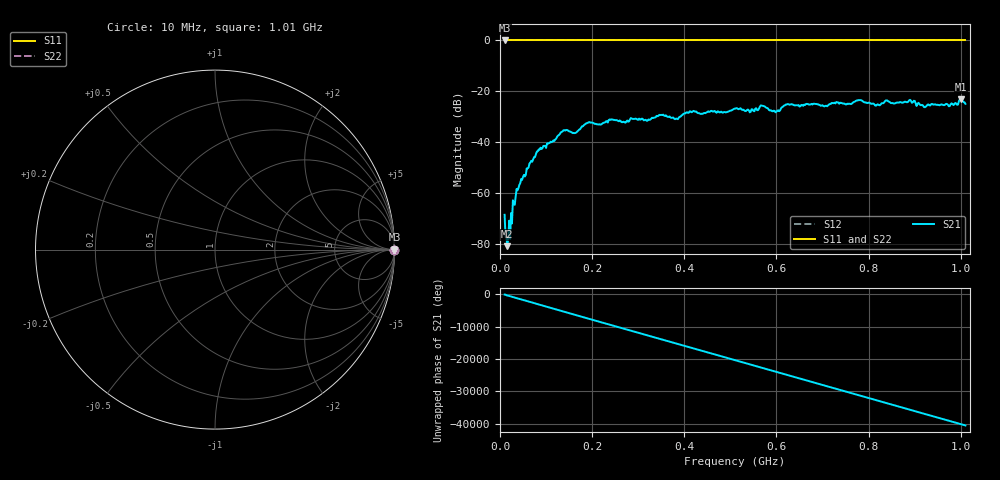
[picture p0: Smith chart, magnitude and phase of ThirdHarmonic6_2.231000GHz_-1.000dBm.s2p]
! 8/17/2025 2:32:32 AM
! C:\ANRITSUVNA\TEMP\TEMP.S2P
! CHANNEL.1
! TR.MEASUREMENT
! RAW.DATA
! RF.CORRECTION.OFF
! AVERAGING.OFF
! IF.BANDWIDTH: 5KHZ
! SWEEPTYPE:  FREQ.SWEEP(Linear)
! Reference Plane Port Info
! PORT:  PORT1  PORT2
! DISTANCE:  0  m  0  m
! TIME:  0  s  0  s
! PHASE.OFFSET:  0  deg.  0  deg.
! LOSS:  0  dB  0  dB
! REF.LOSS:  0  dB  0  dB
! REF.FREQ:  0  Hz  0  Hz
! Power Info
! POWER:  -20  dBm  -20  dBm
! EFF.POWER:  -20  dBm  -20  dBm
! SOURCE.ATTEN:  0  dB  0  dB
! TEST.ATTEN:  0  dB  0  dB
# GHZ S RI R 50.0
! FREQ.GHZ  S11RE  S11IM  S21RE  S21IM  S12RE  S12IM  S22RE  S22IM
!; PortSelection: Port_12
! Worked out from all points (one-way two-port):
!   501 points, 10 MHz to 1.01 GHz, reference 50 ohm
!   highest |S21| = -23.14 dB at 1 GHz (marker M1); lowest = -80.8 dB at 16 MHz (marker M2)
!   lowest |S11| = 0.0 dB at 10 MHz (marker M3)
!   |S11| at or under -10 dB: nowhere
!   |S22| runs from 0.0 to 0.0 dB; largest |S21 - S12| = 1.1
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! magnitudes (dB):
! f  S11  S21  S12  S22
! 10 MHz  0.0  -68.4  0.0  0.0
! 16 MHz  0.0  -80.8  0.0  0.0
! 18 MHz  0.0  -77.4  0.0  0.0
! 32 MHz  0.0  -64.5  0.0  0.0
! 40 MHz  0.0  -57.9  0.0  0.0
! 82 MHz  0.0  -43.5  0.0  0.0
! 136 MHz  0.0  -35.7  0.0  0.0
! 162 MHz  0.0  -36.4  0.0  0.0
! 178 MHz  0.0  -33.7  0.0  0.0
! 344 MHz  0.0  -29.5  0.0  0.0
! 382 MHz  0.0  -30.7  0.0  0.0
! 416 MHz  0.0  -28.2  0.0  0.0
! 510 MHz  0.0  -26.8  0.0  0.0
! 546 MHz  0.0  -27.0  0.0  0.0
! 570 MHz  0.0  -25.7  0.0  0.0
! 602 MHz  0.0  -27.6  0.0  0.0
! 622 MHz  0.0  -25.1  0.0  0.0
! 678 MHz  0.0  -25.1  0.0  0.0
! 844 MHz  0.0  -24.0  0.0  0.0
! 922 MHz  0.0  -26.2  0.0  0.0
! 1 GHz  0.0  -23.1  0.0  0.0
! 1.01 GHz  0.0  -24.9  0.0  0.0
